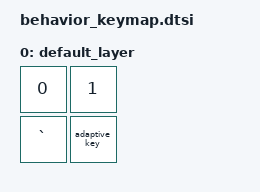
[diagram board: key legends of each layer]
#include <dt-bindings/zmk/keys.h>
#include <behaviors.dtsi>
#include <dt-bindings/zmk/kscan_mock.h>

/ {
    behaviors {
        adaptive_key: adaptive_key {
            compatible = "zmk,behavior-adaptive-key";
            #binding-cells = <0>;
            bindings = <&none>;
            dead-keys = <GRAVE>;

            trigger_one {
                trigger-keys = <N0>;
                bindings = <&kp A>;
                min-prior-idle-ms = <100>;
                max-prior-idle-ms = <300>;
            };

            trigger_two {
                trigger-keys = <N1>;
                bindings = <&kp A &kp B &kp C>;
            };

            trigger_three {
                trigger-keys = <GRAVE>;
                bindings = <&kp A>;
            };
        };
    };

    keymap {
        compatible = "zmk,keymap";
        default_layer {
            bindings = <
                &kp N0 &kp N1
                &kp GRAVE &adaptive_key
            >;
        };
    };
};
